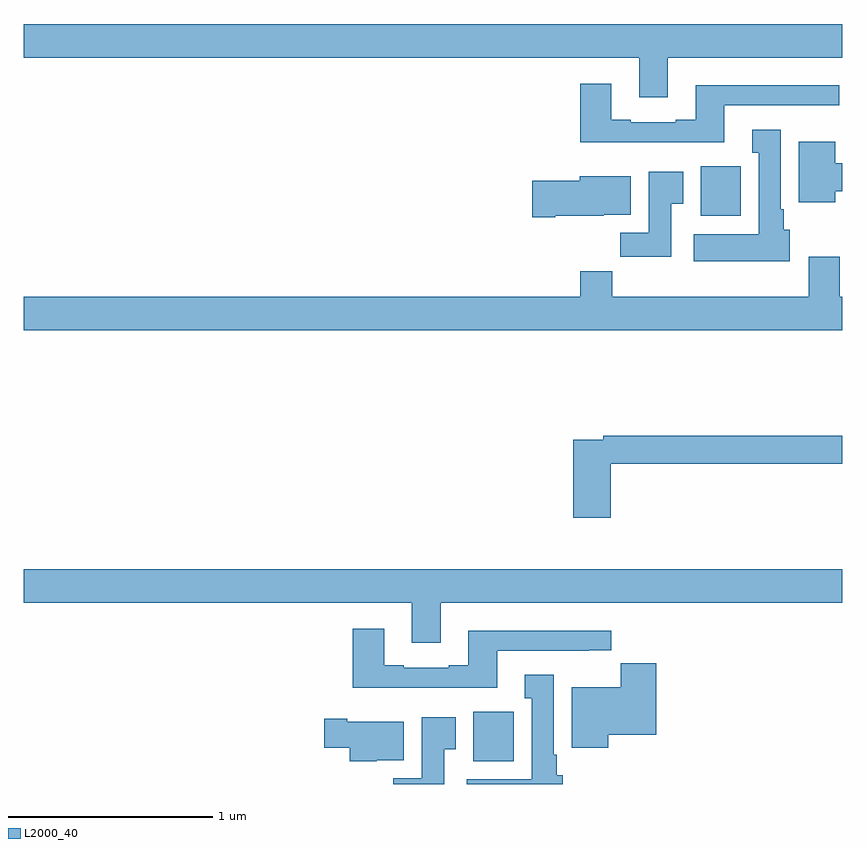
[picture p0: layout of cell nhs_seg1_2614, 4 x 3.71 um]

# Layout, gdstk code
import gdstk
lib = gdstk.Library(unit=1e-6, precision=1e-09)
def R(c, l, rs):  # rectangles x0, y0, x1, y1
    for r in rs: c.add(gdstk.rectangle(r[:2], r[2:], *l))
def P(c, l, *ps):  # polygons
    for p in ps: c.add(gdstk.Polygon(p, *l))
L2000_40 = (2000, 40)

nhs_seg1_2614 = lib.new_cell('nhs_seg1_2614')
R(nhs_seg1_2614, L2000_40, [(255.197,532.31,255.394,532.552), (256.307,534.974,256.504,535.216)])
P(nhs_seg1_2614, L2000_40, [(256.147,535.748),(257,535.748),(257,535.912),(253,535.912),(253,535.748),(256.007,535.748),(256.007,535.554),(256.147,535.554)],
  [(256.423,535.515),(256.984,535.515),(256.984,535.612),(256.283,535.612),(256.283,535.444),(256.187,535.444),(256.187,535.431),(255.967,535.431),(255.967,535.444),(255.871,535.444),(255.871,535.621),(255.719,535.621),(255.719,535.334),(256.423,535.334)],
  [(256.744,534.906),(256.714,534.906),(256.714,535.006),(256.699,535.006),(256.699,535.396),(256.559,535.396),(256.559,535.283),(256.592,535.283),(256.592,534.886),(256.275,534.886),(256.275,534.752),(256.744,534.752)],
  [(256.966,535.096),(257,535.096),(257,535.232),(256.966,535.232),(256.966,535.336),(256.787,535.336),(256.787,535.04),(256.966,535.04)],
  [(256.165,535.033),(256.222,535.033),(256.222,535.189),(256.055,535.189),(256.055,534.892),(255.916,534.892),(255.916,534.774),(256.165,534.774)],
  [(255.598,534.974),(255.834,534.974),(255.834,534.98),(255.967,534.98),(255.967,535.168),(255.716,535.168),(255.716,535.145),(255.486,535.145),(255.486,534.967),(255.598,534.967)],
  [(257,534.58),(256.988,534.58),(256.988,534.775),(256.835,534.775),(256.835,534.58),(255.875,534.58),(255.875,534.704),(255.719,534.704),(255.719,534.58),(253,534.58),(253,534.416),(257,534.416)],
  [(255.869,533.764),(257,533.764),(257,533.9),(255.832,533.9),(255.832,533.88),(255.686,533.88),(255.686,533.499),(255.869,533.499)],
  [(255.037,533.084),(257,533.084),(257,533.248),(253,533.248),(253,533.084),(254.897,533.084),(254.897,532.89),(255.037,532.89)],
  [(255.313,532.851),(255.761,532.851),(255.761,532.853),(255.87,532.853),(255.87,532.948),(255.173,532.948),(255.173,532.78),(255.077,532.78),(255.077,532.767),(254.857,532.767),(254.857,532.78),(254.761,532.78),(254.761,532.957),(254.609,532.957),(254.609,532.67),(255.313,532.67)],
  [(255.856,532.439),(256.091,532.439),(256.091,532.788),(255.917,532.788),(255.917,532.672),(255.677,532.672),(255.677,532.376),(255.856,532.376)],
  [(255.634,532.242),(255.604,532.242),(255.604,532.342),(255.589,532.342),(255.589,532.732),(255.449,532.732),(255.449,532.619),(255.482,532.619),(255.482,532.222),(255.165,532.222),(255.165,532.199),(255.634,532.199)],
  [(255.055,532.369),(255.112,532.369),(255.112,532.525),(254.945,532.525),(254.945,532.228),(254.806,532.228),(254.806,532.199),(255.055,532.199)],
  [(254.724,532.316),(254.857,532.316),(254.857,532.504),(254.581,532.504),(254.581,532.517),(254.469,532.517),(254.469,532.375),(254.594,532.375),(254.594,532.31),(254.724,532.31)])

lib.write_gds('nhs_seg1_2614.gds')
